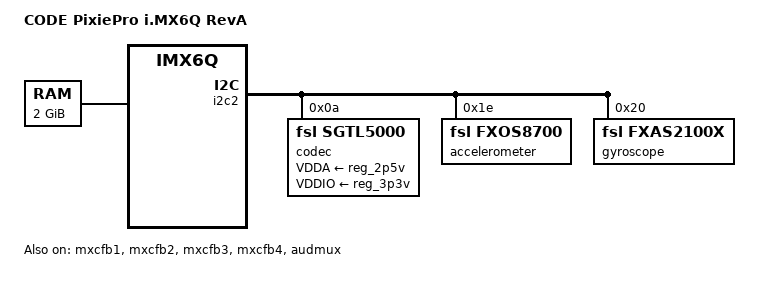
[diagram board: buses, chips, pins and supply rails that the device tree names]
/*
 * Copyright 2012 Freescale Semiconductor, Inc.
 * Copyright 2011 Linaro Ltd.
 *
 * The code contained herein is licensed under the GNU General Public
 * License. You may obtain a copy of the GNU General Public License
 * Version 2 or later at the following locations:
 *
 * http://www.opensource.org/licenses/gpl-license.html
 * http://www.gnu.org/copyleft/gpl.html
 */

/dts-v1/;

#include "imx6q.dtsi"
#include "imx6qdl-pixiepro.dtsi"

/ {
	model = "CODE PixiePro i.MX6Q RevA";
	compatible = "fsl,imx6q-pixiepro", "fsl,imx6q";

	memory: memory {
		reg = <0x10000000 0x80000000>;
	};

	sound-sgtl5000 {
		compatible = "fsl,imx6-pixieboard-sgtl5000",
			     "fsl,imx-audio-sgtl5000";
		model = "imx6-pixieboard-sgtl5000";
		ssi-controller = <&ssi1>;
		audio-codec = <&codec>;
		audio-routing =
			"MIC_IN", "Mic Jack",
			"Mic Jack", "Mic Bias",
			"Headphone Jack", "HP_OUT";
		mux-int-port = <1>;
		mux-ext-port = <4>;
	};

};



&i2c2 {
		
	codec: sgtl5000@0a {
	compatible = "fsl,sgtl5000";
	reg = <0x0a>;
	clocks = <&clks 201>;
	VDDA-supply = <&reg_2p5v>;
	VDDIO-supply = <&reg_3p3v>;
	};

	accelerometer: fxos8700@1e {
	compatible = "fsl,fxos8700";
	reg = <0x1e>;
   };

   	gyroscope: fxas2100x@20 {
	compatible = "fsl,fxas2100x";
	reg = <0x20>;
   };

};

&ldb {
	lvds-channel@0 {
		crtc = "ipu2-di0";
	};

	lvds-channel@1 {
		crtc = "ipu2-di1";
	};
};

&mxcfb1 {
	status = "okay";
};

&mxcfb2 {
	status = "okay";
};

&mxcfb3 {
	status = "okay";
};

&mxcfb4 {
	status = "okay";
};

&audmux {
	status = "okay";
};

